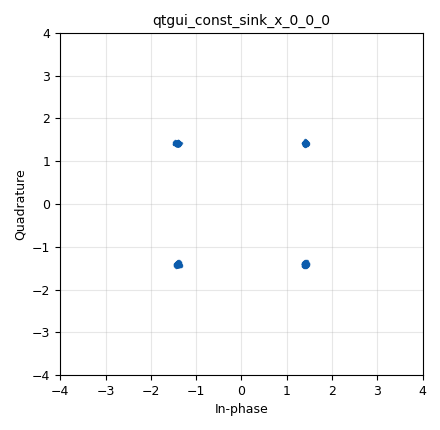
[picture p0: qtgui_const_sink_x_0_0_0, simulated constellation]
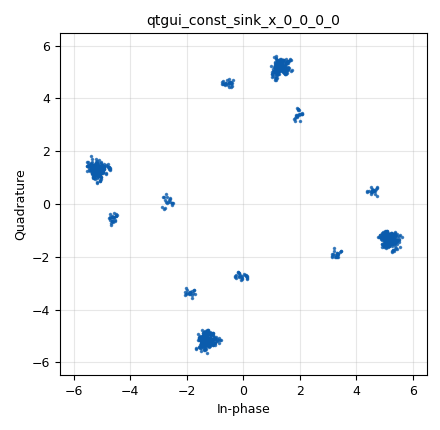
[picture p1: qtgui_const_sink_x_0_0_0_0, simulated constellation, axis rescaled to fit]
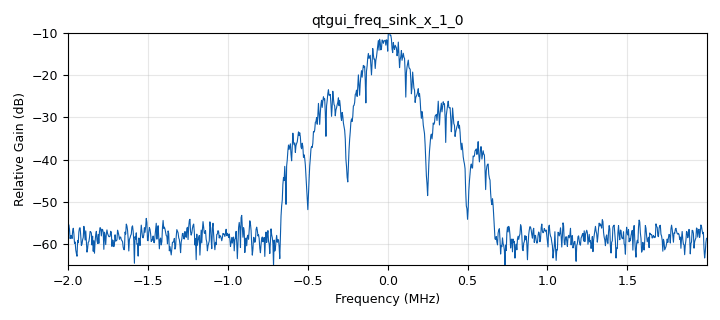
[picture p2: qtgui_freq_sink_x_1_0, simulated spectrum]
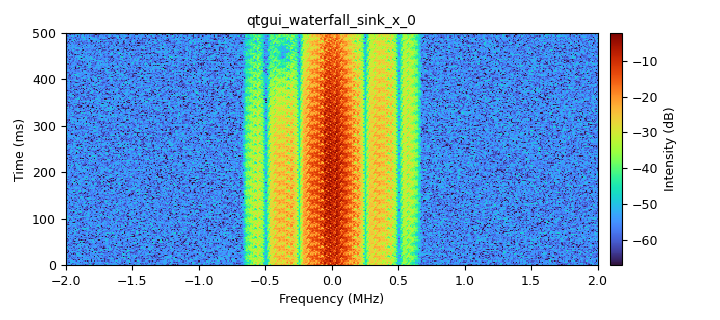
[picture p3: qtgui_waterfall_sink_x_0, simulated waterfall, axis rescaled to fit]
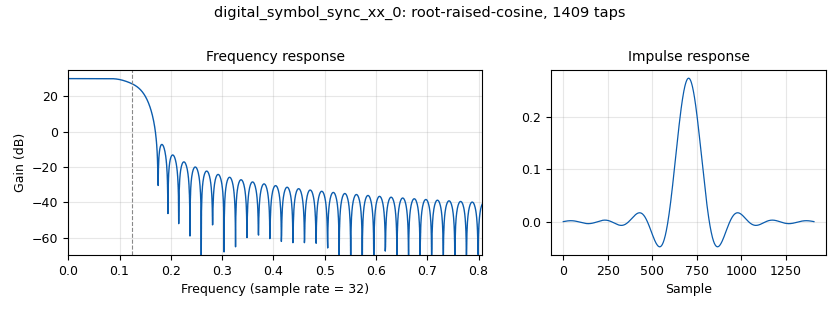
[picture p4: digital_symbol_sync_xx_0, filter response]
options:
  parameters:
    generate_options: qt_gui
    id: cost207tuchan
    output_language: python
    title: cost207tuchan
  states: {}

blocks:
- name: adapt_alg
  id: variable_adaptive_algorithm
  parameters:
    cons: my_variable_constellation
    modulus: '4'
    step_size: '.0001'
    type: lms
  states: {}
- name: my_variable_constellation
  id: variable_constellation
  parameters:
    precision: '8'
    type: qpsk
  states: {}
- name: nfilts
  id: variable
  parameters:
    value: '32'
  states: {}
- name: rrc
  id: variable
  parameters:
    value: firdes.root_raised_cosine(nfilts, nfilts, 1.0/float(sps), 0.35, 11*sps*nfilts)
  states: {}
- name: samp_rate
  id: variable
  parameters:
    value: '4000000'
  states: {}
- name: sps
  id: variable
  parameters:
    value: '4'
  states: {}
- name: analog_random_source_x_0
  id: analog_random_source_x
  parameters:
    max: '3'
    min: '0'
    num_samps: '1000'
    repeat: 'True'
    type: byte
  states: {}
- name: blocks_throttle_0_0
  id: blocks_throttle
  parameters:
    samples_per_second: samp_rate
    type: complex
  states: {}
- name: channels_channel_model_0
  id: channels_channel_model
  parameters:
    epsilon: '1.0'
    freq_offset: '0.0'
    noise_voltage: '0.1'
    seed: '0'
    taps: '1'
  states: {}
- name: channels_selective_fading_model_0
  id: channels_selective_fading_model
  parameters:
    LOS: 'False'
    N: '8'
    delays: (0.0,0.8,2.0, 6.4, 9.2, 20)
    fDTs: 1.0/samp_rate
    mags: (0.5, 1.0, 0.63, 0.25, 0.16, 0.1)
    ntaps: '8'
    seed: '0'
  states: {}
- name: digital_constellation_modulator_0
  id: digital_constellation_modulator
  parameters:
    constellation: my_variable_constellation
    differential: 'True'
    excess_bw: '0.35'
    samples_per_symbol: sps
  states: {}
- name: digital_linear_equalizer_0_0
  id: digital_linear_equalizer
  parameters:
    alg: adapt_alg
    num_taps: '40'
    sps: int(sps/2)
  states: {}
- name: digital_symbol_sync_xx_0
  id: digital_symbol_sync_xx
  parameters:
    constellation: digital.constellation_16qam().base()
    damping: '1.0'
    loop_bw: '0.06283'
    max_dev: '1.5'
    nfilters: '32'
    osps: int(sps/2)
    pfb_mf_taps: rrc
    resamp_type: digital.IR_PFB_MF
    sps: sps
    ted_gain: '1.0'
    ted_type: digital.TED_SIGNAL_TIMES_SLOPE_ML
    type: cc
  states: {}
- name: qtgui_const_sink_x_0_0_0
  id: qtgui_const_sink_x
  parameters:
    size: '1024'
    type: complex
    update_time: '0.01'
    xmax: '4'
    xmin: '-4'
    ymax: '4'
    ymin: '-4'
  states: {}
- name: qtgui_const_sink_x_0_0_0_0
  id: qtgui_const_sink_x
  parameters:
    size: '1024'
    type: complex
    update_time: '0.01'
    xmax: '4'
    xmin: '-4'
    ymax: '4'
    ymin: '-4'
  states: {}
- name: qtgui_freq_sink_x_1_0
  id: qtgui_freq_sink_x
  parameters:
    average: '0.2'
    bw: samp_rate
    fc: '0'
    fftsize: '1024'
    type: complex
    update_time: '0.05'
    ymax: '-10'
    ymin: '-65'
  states: {}
- name: qtgui_waterfall_sink_x_0
  id: qtgui_waterfall_sink_x
  parameters:
    bw: samp_rate
    fc: '0'
    fftsize: '1024'
    int_max: '-20'
    int_min: '-60'
    type: complex
    update_time: '0.01'
  states: {}
- name: rational_resampler_xxx_1
  id: rational_resampler_xxx
  parameters:
    decim: sps
    interp: '1'
    type: ccc
  states: {}

connections:
- [analog_random_source_x_0, '0', digital_constellation_modulator_0, '0']
- [blocks_throttle_0_0, '0', qtgui_const_sink_x_0_0_0, '0']
- [channels_channel_model_0, '0', digital_symbol_sync_xx_0, '0']
- [channels_channel_model_0, '0', qtgui_freq_sink_x_1_0, '0']
- [channels_channel_model_0, '0', qtgui_waterfall_sink_x_0, '0']
- [channels_channel_model_0, '0', rational_resampler_xxx_1, '0']
- [channels_selective_fading_model_0, '0', channels_channel_model_0, '0']
- [digital_constellation_modulator_0, '0', channels_selective_fading_model_0, '0']
- [digital_linear_equalizer_0_0, '0', blocks_throttle_0_0, '0']
- [digital_symbol_sync_xx_0, '0', digital_linear_equalizer_0_0, '0']
- [rational_resampler_xxx_1, '0', qtgui_const_sink_x_0_0_0_0, '0']

metadata:
  file_format: 1
  grc_version: 3.10.2.0
